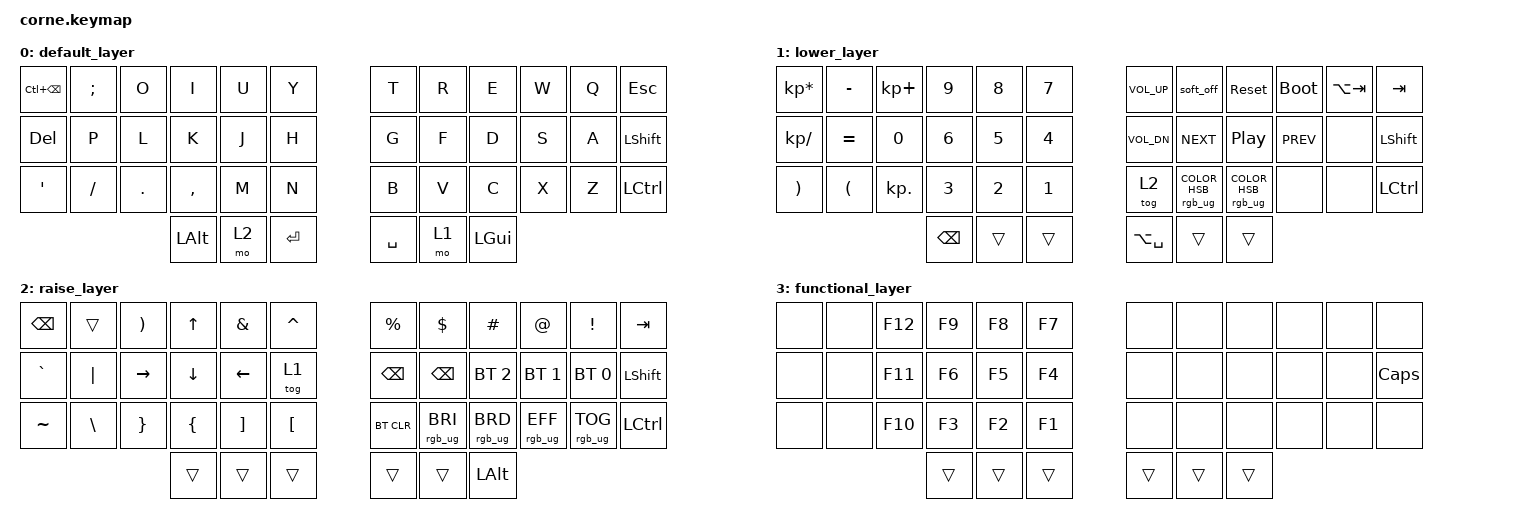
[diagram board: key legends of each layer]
/*
 * Copyright (c) 2020 The ZMK Contributors
 *
 * SPDX-License-Identifier: MIT
 */

#include <behaviors.dtsi>
#include <dt-bindings/zmk/keys.h>
#include <dt-bindings/zmk/bt.h>
#include <dt-bindings/zmk/rgb.h>


&led_strip {
  //chain-length = <0>;
  chain-length = <27>;
  // 21 backlight + 6 glowlight
};

/ {
    conditional_layers {
        compatible = "zmk,conditional-layers";
        tri_layer {
            if-layers = <1 2>;
            then-layer = <3>;
        };
    };

    keymap {
        compatible = "zmk,keymap";



        default_layer {
            bindings = <
   &kp LC(BSPC) &kp SEMI    &kp O    &kp I     &kp U           &kp Y   &kp T &kp R &kp E &kp W &kp Q &kp ESC
   &kp DEL      &kp P  &kp L    &kp K     &kp J           &kp H   &kp G &kp F &kp D &kp S &kp A &kp LSHFT
   &kp SQT      &kp FSLH &kp DOT  &kp COMMA &kp M           &kp N  &kp B &kp V &kp C &kp X &kp Z &kp LCTRL
                   &kp LEFT_ALT &mo 2 &kp RET               &kp SPACE &mo 1 &kp LGUI
            >;
        };

        lower_layer {
            bindings = <
   &kp KP_MULTIPLY &kp MINUS &kp KP_PLUS &kp N9 &kp N8 &kp N7           &kp C_VOL_UP &soft_off &sys_reset &bootloader &kp LA(TAB) &kp TAB
   &kp KP_DIVIDE   &kp EQUAL &kp N0      &kp N6 &kp N5 &kp N4           &kp C_VOL_DN  &kp C_NEXT &kp C_PP &kp C_PREV &none &kp LSHFT
   &kp RPAR        &kp LPAR  &kp KP_DOT  &kp N3 &kp N2 &kp N1           &tog 2        &rgb_ug RGB_COLOR_HSB(359,100,100)      &rgb_ug RGB_COLOR_HSB(0,0,100)   &none      &none &kp LCTRL
                      &kp BSPC &trans &trans                            &kp LA(SPACE) &trans &trans
            >;
        };

        raise_layer {
            bindings = <
   &kp BSPC   &trans   &kp RPAR  &kp UP   &kp AMPS          &kp CARET        &kp PRCNT             &kp DLLR        &kp HASH        &kp AT          &kp EXCL        &kp TAB
   &kp GRAVE  &kp PIPE &kp RIGHT &kp DOWN &kp LEFT          &tog 1           &kp BSPC              &kp BSPC        &bt BT_SEL 2    &bt BT_SEL 1    &bt BT_SEL 0    &kp LSHIFT
   &kp TILDE  &kp BSLH &kp RBRC  &kp LBRC &kp RIGHT_BRACKET &kp LEFT_BRACKET &bt BT_CLR            &rgb_ug RGB_BRI &rgb_ug RGB_BRD &rgb_ug RGB_EFF &rgb_ug RGB_TOG &kp LCTRL
                 &trans &trans    &trans                              &trans  &trans  &kp LEFT_ALT         
            >;
        };
        functional_layer {
            bindings = <
   &none &none &kp F12 &kp F9 &kp F8 &kp F7           &none &none &none &none &none &none
   &none &none &kp F11 &kp F6 &kp F5 &kp F4           &none &none &none &none &none &kp CAPS
   &none &none &kp F10 &kp F3 &kp F2 &kp F1           &none &none &none &none &none &none
                    &trans &trans &trans               &trans &trans &trans
            >;
        };

    
    };
};
